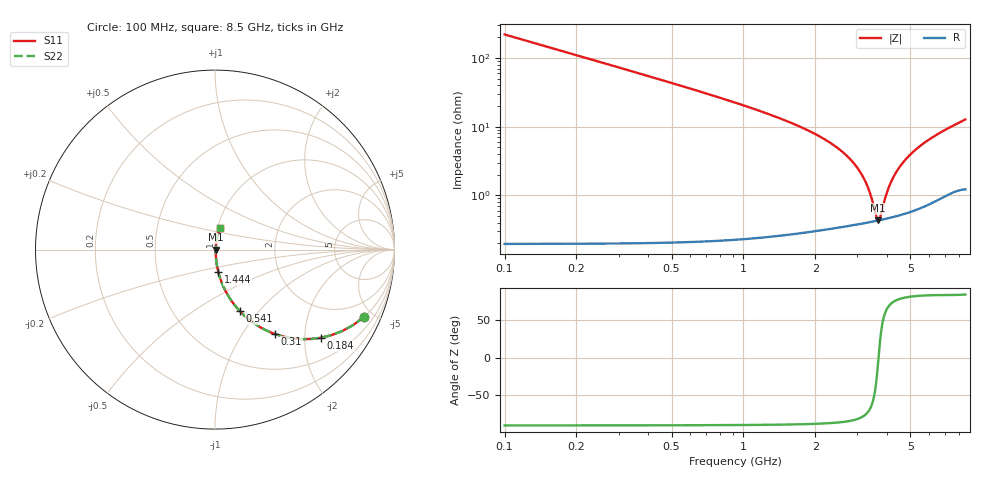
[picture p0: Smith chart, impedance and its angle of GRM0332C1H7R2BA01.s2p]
!Murata Part Number: GRM0332C1H7R2BA01
!These Parameters are Measured in Series Mode Connection
!Data Generated on Mar 30, 2021
!  o--ll--o
!Port1  Port2
!  o------o
!Operation Temp=25[degC], DC Bias Voltage=0[V]
!Freq. Start=100[MHz] Stop=9[GHz] 401[Steps]
# Hz S RI R 50
!Freq.(Hz) S11(Real) S11(Imag) S21(Real) S21(Imag) S12(Real) S12(Imag) S22(Real) S22(Imag)
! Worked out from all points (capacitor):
!   401 points, 100 MHz to 8.5 GHz, reference 50 ohm
!   read as one part in series: C = 7.2 pF near 142 MHz
!   lowest |Z| = 430 mohm at 3.67 GHz (marker M1)
!   series resonance near 3.678 GHz, so ESL is about 260 pH
!   S11 on the Smith chart (normalised r, x): 100 MHz: 1.00, -4.42; 184 MHz: 1.00, -2.40; 310 MHz: 1.00, -1.42; 541 MHz: 1.00, -0.80; 1.444 GHz: 1.01, -0.26; 8.5 GHz: 1.02, +0.25
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1e8  0.8297 -0.3755  0.1703 0.3755  0.1703 0.3755  0.8297 -0.3755
1.84e8  0.5893 -0.4911  0.4107 0.4911  0.4107 0.4911  0.5893 -0.4911
3.1e8  0.3343 -0.4703  0.6657 0.4703  0.6657 0.4703  0.3343 -0.4703
4.15e8  0.2175 -0.4106  0.7825 0.4106  0.7825 0.4106  0.2175 -0.4106
5.41e8  0.139 -0.3434  0.861 0.3434  0.861 0.3434  0.139 -0.3434
8.56e8  0.0581 -0.2295  0.9419 0.2295  0.9419 0.2295  0.0581 -0.2295
1.444e9  0.0189 -0.1267  0.9811 0.1267  0.9811 0.1267  0.0189 -0.1267
1.507e9  0.0172 -0.1196  0.9828 0.1196  0.9828 0.1196  0.0172 -0.1196
2.41e9  0.00602 -0.052  0.994 0.052  0.994 0.052  0.00602 -0.052
2.914e9  0.00447 -0.0282  0.9955 0.0282  0.9955 0.0282  0.00447 -0.0282
3.124e9  0.00423 -0.0197  0.9958 0.0197  0.9958 0.0197  0.00423 -0.0197
3.292e9  0.00415 -0.0134  0.9959 0.0134  0.9959 0.0134  0.00415 -0.0134
3.418e9  0.00415 -0.00885  0.9959 0.00885  0.9959 0.00885  0.00415 -0.00885
3.607e9  0.00423 -0.00235  0.9958 0.00235  0.9958 0.00235  0.00423 -0.00235
3.67e9  0.00428 -0.000256  0.9957 0.000256  0.9957 0.000256  0.00428 -0.000256
3.733e9  0.00433 0.00181  0.9957 -0.00181  0.9957 -0.00181  0.00433 0.00181
4.027e9  0.00471 0.011  0.9953 -0.011  0.9953 -0.011  0.00471 0.011
4.3e9  0.00523 0.0191  0.9948 -0.0191  0.9948 -0.0191  0.00523 0.0191
4.867e9  0.00673 0.0349  0.9933 -0.0349  0.9933 -0.0349  0.00673 0.0349
5.707e9  0.00999 0.0565  0.99 -0.0565  0.99 -0.0565  0.00999 0.0565
7.114e9  0.0181 0.0898  0.9819 -0.0898  0.9819 -0.0898  0.0181 0.0898
8.5e9  0.0273 0.1219  0.9727 -0.1219  0.9727 -0.1219  0.0273 0.1219
